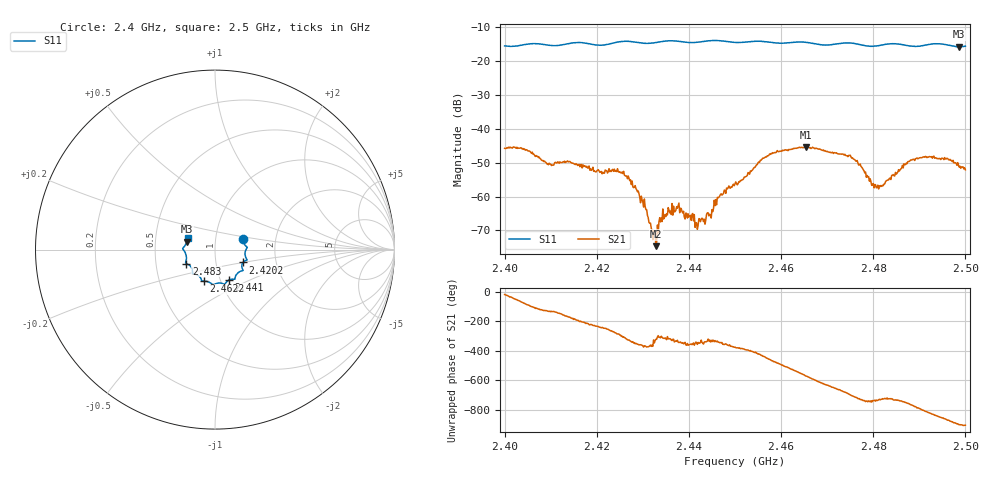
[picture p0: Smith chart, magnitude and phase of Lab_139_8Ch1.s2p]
# Hz S RI R 50
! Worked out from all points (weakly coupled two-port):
!   601 points, 2.4 GHz to 2.5 GHz, reference 50 ohm
!   highest |S21| = -45.34 dB at 2.4653 GHz (marker M1); lowest = -74.7 dB at 2.4328 GHz (marker M2)
!   lowest |S11| = -15.8 dB at 2.4987 GHz (marker M3), VSWR 1.39, Z = 36.4 + j3.32 ohm
!   |S11| at or under -10 dB: start of sweep to end of sweep
!   S12 and S22 are empty: the file has one direction only
!   S11 on the Smith chart (normalised r, x): 2.4 GHz: 1.36, +0.17; 2.4202 GHz: 1.35, -0.20; 2.441 GHz: 1.09, -0.39; 2.4622 GHz: 0.83, -0.30; 2.483 GHz: 0.72, -0.12; 2.5 GHz: 0.73, +0.09
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2.4e9  0.1559 0.0601  0.00485 -0.0017  0 0  0 0
2.416667e9  0.1774 -0.0582  -0.00271 0.00121  0 0  0 0
2.420167e9  0.1556 -0.0717  -0.0014 0.00201  0 0  0 0
2.426833e9  0.1564 -0.1167  0.0017 0.00107  0 0  0 0
2.432833e9  0.1142 -0.1487  0.000147 0.000112  0 0  0 0
2.433333e9  0.1127 -0.1525  0.000136 0.000256  0 0  0 0
2.434e9  0.1121 -0.1575  0.000255 0.000407  0 0  0 0
2.437333e9  0.1067 -0.165  0.00065 0.000281  0 0  0 0
2.441e9  0.0765 -0.1707  0.000427 9.38e-05  0 0  0 0
2.443167e9  0.0604 -0.1848  0.000425 3.67e-05  0 0  0 0
2.45e9  0.0264 -0.1861  0.00148 -0.00042  0 0  0 0
2.4565e9  -0.016 -0.1928  0.000476 -0.00375  0 0  0 0
2.462167e9  -0.0634 -0.1761  -0.00479 -0.00129  0 0  0 0
2.465333e9  -0.0744 -0.1736  -0.00463 0.0028  0 0  0 0
2.466667e9  -0.0763 -0.1667  -0.00332 0.00402  0 0  0 0
2.475167e9  -0.1259 -0.1343  0.00366 0.00118  0 0  0 0
2.480667e9  -0.1415 -0.0877  0.0013 -0.000339  0 0  0 0
2.483e9  -0.1591 -0.0779  0.00173 -5.62e-06  0 0  0 0
2.483333e9  -0.1607 -0.0774  0.00175 -0.00017  0 0  0 0
2.4905e9  -0.1663 -0.0158  0.000656 -0.00367  0 0  0 0
2.498667e9  -0.1556 0.0444  -0.00271 8.15e-05  0 0  0 0
2.5e9  -0.1531 0.0631  -0.00247 0.000239  0 0  0 0
